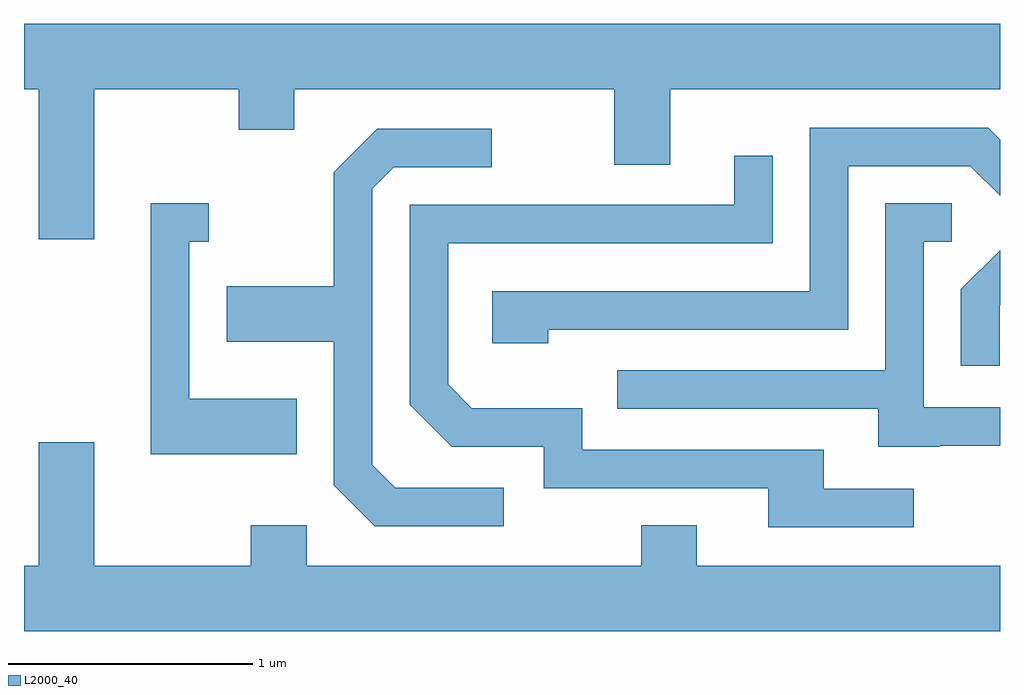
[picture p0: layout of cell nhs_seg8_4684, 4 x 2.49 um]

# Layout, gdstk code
import gdstk
lib = gdstk.Library(unit=1e-6, precision=1e-09)
def P(c, l, *ps):  # polygons
    for p in ps: c.add(gdstk.Polygon(p, *l))
L2000_40 = (2000, 40)

nhs_seg8_4684 = lib.new_cell('nhs_seg8_4684')
P(nhs_seg8_4684, L2000_40, [(325.899,1865.276),(326.491,1865.276),(326.491,1865.111),(326.719,1865.111),(326.719,1865.276),(328.031,1865.276),(328.031,1864.966),(328.259,1864.966),(328.259,1865.276),(329.611,1865.276),(329.611,1865.544),(325.611,1865.544),(325.611,1865.276),(325.671,1865.276),(325.671,1864.661),(325.899,1864.661)],
  [(327.759,1864.291),(328.989,1864.291),(328.989,1864.961),(329.489,1864.961),(329.611,1864.839),(329.611,1865.07),(329.562,1865.119),(328.831,1865.119),(328.831,1864.449),(327.531,1864.449),(327.531,1864.236),(327.759,1864.236)],
  [(327.578,1863.644),(327.132,1863.644),(327.039,1863.737),(327.039,1864.869),(327.127,1864.956),(327.528,1864.956),(327.528,1865.114),(327.059,1865.114),(326.881,1864.937),(326.881,1864.469),(326.441,1864.469),(326.441,1864.241),(326.881,1864.241),(326.881,1863.654),(327.049,1863.486),(327.578,1863.486)],
  [(329.258,1863.639),(328.889,1863.639),(328.889,1863.799),(327.899,1863.799),(327.899,1863.969),(327.447,1863.969),(327.349,1864.067),(327.349,1864.646),(328.679,1864.646),(328.679,1865.003),(328.521,1865.003),(328.521,1864.804),(327.191,1864.804),(327.191,1863.984),(327.364,1863.811),(327.741,1863.811),(327.741,1863.641),(328.661,1863.641),(328.661,1863.481),(329.258,1863.481)],
  [(329.365,1863.816),(329.611,1863.816),(329.611,1863.974),(329.299,1863.974),(329.299,1864.651),(329.413,1864.651),(329.413,1864.809),(329.141,1864.809),(329.141,1864.124),(328.043,1864.124),(328.043,1863.966),(329.111,1863.966),(329.111,1863.811),(329.365,1863.811)],
  [(326.729,1864.009),(326.289,1864.009),(326.289,1864.651),(326.368,1864.651),(326.368,1864.809),(326.131,1864.809),(326.131,1863.781),(326.729,1863.781)],
  [(329.609,1864.389),(329.611,1864.391),(329.611,1864.616),(329.451,1864.457),(329.451,1864.143),(329.609,1864.143)],
  [(329.611,1863.324),(328.369,1863.324),(328.369,1863.489),(328.141,1863.489),(328.141,1863.324),(326.769,1863.324),(326.769,1863.489),(326.541,1863.489),(326.541,1863.324),(325.899,1863.324),(325.899,1863.829),(325.671,1863.829),(325.671,1863.324),(325.611,1863.324),(325.611,1863.056),(329.611,1863.056)])

lib.write_gds('nhs_seg8_4684.gds')
